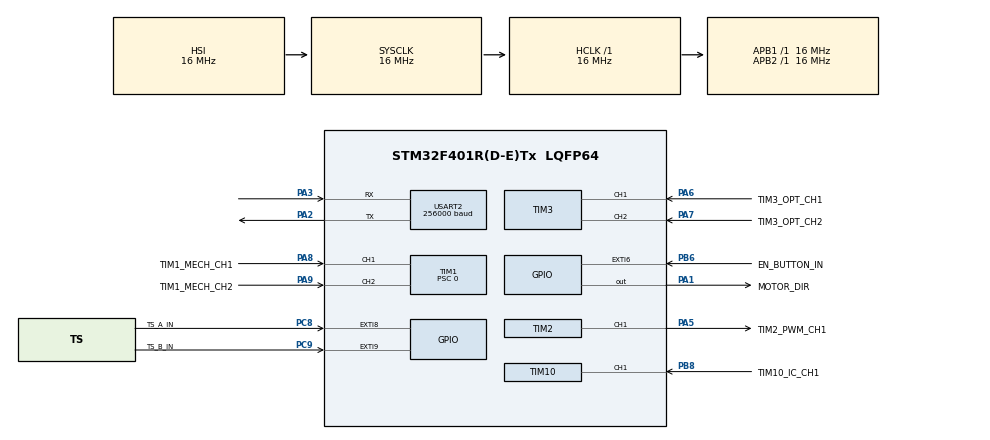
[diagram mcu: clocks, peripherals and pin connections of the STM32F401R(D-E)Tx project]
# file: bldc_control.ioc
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Dma.Request0=USART2_TX
Dma.USART2_TX.0.Direction=DMA_MEMORY_TO_PERIPH
Dma.USART2_TX.0.FIFOMode=DMA_FIFOMODE_DISABLE
Dma.USART2_TX.0.Instance=DMA1_Stream6
Dma.USART2_TX.0.MemDataAlignment=DMA_MDATAALIGN_BYTE
Dma.USART2_TX.0.MemInc=DMA_MINC_ENABLE
Dma.USART2_TX.0.Mode=DMA_NORMAL
Dma.USART2_TX.0.PeriphDataAlignment=DMA_PDATAALIGN_BYTE
Dma.USART2_TX.0.PeriphInc=DMA_PINC_DISABLE
Dma.USART2_TX.0.Priority=DMA_PRIORITY_LOW
Mcu.Family=STM32F4
Mcu.Name=STM32F401R(D-E)Tx
Mcu.Package=LQFP64
NVIC.DMA1_Stream6_IRQn=true\:0\:0\:false\:false\:true\:false\:true\:true
NVIC.EXTI9_5_IRQn=true\:0\:0\:false\:false\:true\:true\:true\:true
NVIC.PriorityGroup=NVIC_PRIORITYGROUP_4
NVIC.TIM1_BRK_TIM9_IRQn=true\:0\:0\:false\:false\:true\:true\:true\:true
NVIC.TIM1_CC_IRQn=true\:0\:0\:false\:false\:true\:true\:true\:true
NVIC.TIM1_TRG_COM_TIM11_IRQn=true\:0\:0\:false\:false\:true\:true\:true\:true
NVIC.TIM1_UP_TIM10_IRQn=true\:0\:0\:false\:false\:true\:true\:true\:true
NVIC.TIM2_IRQn=true\:0\:0\:false\:false\:true\:true\:true\:true
NVIC.TIM3_IRQn=true\:0\:0\:false\:false\:true\:true\:true\:true
NVIC.TIM4_IRQn=true\:0\:0\:false\:false\:true\:true\:true\:true
NVIC.TIM5_IRQn=true\:0\:0\:false\:false\:true\:true\:true\:true
NVIC.USART2_IRQn=true\:0\:0\:false\:false\:true\:true\:true\:true
PA1.GPIO_Label=MOTOR_DIR
PA1.GPIO_PuPd=GPIO_PULLDOWN
PA1.Signal=GPIO_Output
PA13.Mode=Serial_Wire
PA13.Signal=SYS_JTMS-SWDIO
PA14.Mode=Serial_Wire
PA14.Signal=SYS_JTCK-SWCLK
PA2.Mode=Asynchronous
PA2.Signal=USART2_TX
PA3.Mode=Asynchronous
PA3.Signal=USART2_RX
PA5.GPIO_Label=TIM2_PWM_CH1
PA5.Signal=S_TIM2_CH1_ETR
PA6.GPIO_Label=TIM3_OPT_CH1
PA6.Signal=S_TIM3_CH1
PA7.GPIO_Label=TIM3_OPT_CH2
PA7.Signal=S_TIM3_CH2
PA8.GPIO_Label=TIM1_MECH_CH1
PA8.GPIO_PuPd=GPIO_PULLUP
PA8.Signal=S_TIM1_CH1
PA9.GPIO_Label=TIM1_MECH_CH2
PA9.GPIO_PuPd=GPIO_PULLUP
PA9.Signal=S_TIM1_CH2
PB6.GPIO_Label=EN_BUTTON_IN
PB6.GPIO_ModeDefaultEXTI=GPIO_MODE_IT_FALLING
PB6.Signal=GPXTI6
PB8.GPIO_Label=TIM10_IC_CH1
PB8.Signal=S_TIM10_CH1
PC8.GPIO_Label=TS_A_IN
PC8.GPIO_ModeDefaultEXTI=GPIO_MODE_IT_FALLING
PC8.Signal=GPXTI8
PC9.GPIO_Label=TS_B_IN
PC9.GPIO_ModeDefaultEXTI=GPIO_MODE_IT_FALLING
PC9.GPIO_PuPd=GPIO_NOPULL
PC9.Signal=GPXTI9
ProjectManager.HeapSize=0x200
ProjectManager.StackSize=0x400
ProjectManager.TargetToolchain=STM32CubeIDE
RCC.AHBFreq_Value=16000000
RCC.APB1Freq_Value=16000000
RCC.APB1TimFreq_Value=16000000
RCC.APB2Freq_Value=16000000
RCC.APB2TimFreq_Value=16000000
RCC.CortexFreq_Value=16000000
RCC.HCLKFreq_Value=16000000
RCC.HSE_VALUE=25000000
RCC.HSI_VALUE=16000000
RCC.LSE_VALUE=32768
RCC.SYSCLKFreq_VALUE=16000000
RCC.VCOOutputFreq_Value=192000000
SH.S_TIM10_CH1.0=TIM10_CH1,Input_Capture1_from_TI1
SH.S_TIM1_CH1.0=TIM1_CH1,Encoder_Interface
SH.S_TIM1_CH2.0=TIM1_CH2,Encoder_Interface
SH.S_TIM2_CH1_ETR.0=TIM2_CH1,PWM Generation1 CH1
SH.S_TIM3_CH1.0=TIM3_CH1,Encoder_Interface
SH.S_TIM3_CH2.0=TIM3_CH2,Encoder_Interface
TIM1.Period=65535
TIM1.Prescaler=0
TIM10.Channel=TIM_CHANNEL_1
TIM10.Prescaler=159
TIM2.Channel-PWM\ Generation1\ CH1=TIM_CHANNEL_1
TIM2.Period=999
TIM2.Prescaler=15
TIM4.Period=999
TIM4.Prescaler=799
TIM5.Period=999
TIM5.Prescaler=15999
TIM9.Period=49
TIM9.Prescaler=15999
USART2.BaudRate=256000
USART2.VirtualMode=VM_ASYNC
VP_TIM10_VS_ClockSourceINT.Mode=Enable_Timer
VP_TIM4_VS_ClockSourceINT.Mode=Internal
VP_TIM5_VS_ClockSourceINT.Mode=Internal
VP_TIM9_VS_ClockSourceINT.Mode=Internal
board=custom

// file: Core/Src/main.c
/* USER CODE BEGIN Header */
/**
  ******************************************************************************
  * @file           : main.c
  * @brief          : Main program body
  ******************************************************************************
  * @attention
  *
  * Copyright (c) 2023 STMicroelectronics.
  * All rights reserved.
  *
  * This software is licensed under terms that can be found in the LICENSE file
  * in the root directory of this software component.
  * If no LICENSE file comes with this software, it is provided AS-IS.
  *
  ******************************************************************************
  */
/* USER CODE END Header */
#include "main.h"

/* USER CODE BEGIN Includes */
#include <stdio.h>
#include <string.h>
#include <stdlib.h>
#include <math.h>

#include <encoder.h>

#include <state_machine.h>
#include <speed_control.h>
/* USER CODE END Includes */

/* USER CODE BEGIN PD */
#define PWM_F 10000

/// \def BLDC_CONTROL_SET_DIR_FWD
/// \brief Макрос для установки направления движения двигателя вперёд (в направлении ОТ двигателя по рельсе).
/// \warning �?спользовать с осторожностью, т.к. подключение пина, отвечающего за направление вращения двигателя, может измениться
#define BLDC_CONTROL_SET_DIR_FWD() HAL_GPIO_WritePin(GPIOA, GPIO_PIN_1, GPIO_PIN_SET)

/// \def BLDC_CONTROL_SET_DIR_BWD
/// \brief Макрос для установки направления движения двигателя назад (в направлении К двигателю по рельсе).
/// \warning �?спользовать с осторожностью, т.к. подключение пина, отвечающего за направление вращения двигателя, может измениться
#define BLDC_CONTROL_SET_DIR_BWD() HAL_GPIO_WritePin(GPIOA, GPIO_PIN_1, GPIO_PIN_RESET)

/// \def BLDC_CONTROL_INTERNAL_CLK_FREQ
/// \brief Частота тактирования контроллера, Гц
#define BLDC_CONTROL_INTERNAL_CLK_FREQ 16000000

/// \def BLDC_CONTROL_ENCODER_RES
/// \brief Разрешение измерительного энкодера, имп./об.
#define BLDC_CONTROL_ENCODER_RES 64

/// \def BLDC_CONTROL_CART_LEN
/// \brief Длина каретки
#define BLDC_CONTROL_CART_LEN 45

/// \def BLDC_CONTROL_GUIDE_LEN
/// \brief Фактическая длина рабочей зоны в мм
#define BLDC_CONTROL_GUIDE_LEN (250 - BLDC_CONTROL_CART_LEN)

/* USER CODE END PD */

TIM_HandleTypeDef htim1;
TIM_HandleTypeDef htim2;
TIM_HandleTypeDef htim3;
TIM_HandleTypeDef htim4;
TIM_HandleTypeDef htim5;
TIM_HandleTypeDef htim9;
TIM_HandleTypeDef htim10;

UART_HandleTypeDef huart2;
DMA_HandleTypeDef hdma_usart2_tx;

/* USER CODE BEGIN PV */
char usart_buffer[255] = {'\0'};
uint8_t recieve_buffer[255] = {'\0'};
char transmit_buffer[255] = {'\0'};
int16_t control_speed = 0;
int16_t position_ticks = 0;
double ticks_per_mm = 0.;
double speed_rpm = 0.;
double position_mm = 0.;
uint16_t max_position_ticks = 0;

uint16_t desired_position_ticks = 0;
double desired_position_mm = 0;
double p_coeff = 1;
double d_coeff = 1;

double i_coeff = 1;
int16_t error_integral = 0;
int16_t i_control = 0;
double time_counter = 0.0;

control_type control = bldc_control_proportional;
int16_t error_ticks = 0;
double error_mm = 0.;
int16_t prev_error_ticks = 0;
uint16_t encoder_ic = 0;

uint16_t sampling_frequency;
uint8_t direct;
states state;
/* USER CODE END PV */

void SystemClock_Config(void);
static void MX_GPIO_Init(void);
static void MX_DMA_Init(void);
static void MX_TIM2_Init(void);
static void MX_TIM1_Init(void);
static void MX_USART2_UART_Init(void);
static void MX_TIM3_Init(void);
static void MX_TIM4_Init(void);
static void MX_TIM5_Init(void);
static void MX_TIM9_Init(void);
static void MX_TIM10_Init(void);

/* USER CODE BEGIN 0 */

void HAL_TIM_PeriodElapsedCallback(TIM_HandleTypeDef* htim) {
    if (htim->Instance == TIM4) {
        if ((state == bldc_control_before_calibration) || (state == bldc_control_calibrated)) {
            /// Считывание показаний механического энкодера
            control_speed = (int16_t) (10 * __HAL_TIM_GET_COUNTER(&htim1));
            if (control_speed > BLDC_CONTROL_MAX_CONTROL){
                control_speed = BLDC_CONTROL_MAX_CONTROL;
                __HAL_TIM_SET_COUNTER(&htim1, 50);
            }else if (control_speed < - BLDC_CONTROL_MAX_CONTROL){
                control_speed = - BLDC_CONTROL_MAX_CONTROL;
                __HAL_TIM_SET_COUNTER(&htim1, UINT16_MAX - 50);
            }
            /// speed  [-500..500]
            set_speed(control_speed, &htim2);
        } else if (state == bldc_control_positioning){
            position_ticks =  (int16_t)__HAL_TIM_GET_COUNTER(&htim3);
            error_ticks =  (int16_t)(desired_position_ticks - position_ticks);
            error_integral += (int16_t) (error_ticks * time_counter);
            time_counter += 0.1;
            if (control == bldc_control_proportional){
                control_speed = (int16_t) (p_coeff * error_ticks);
            }else if ( control == bldc_control_prop_diff){
                control_speed = (int16_t) (p_coeff * error_ticks
                        + d_coeff * (error_ticks - prev_error_ticks) * 10);
            }else if ( control == bldc_control_prop_int){
                i_control = (int16_t) (i_coeff * error_integral);
                if (i_control < -100){
                    i_control = -100;
                }else if (i_control > 100){
                    i_control = 100;
                }
                control_speed = (int16_t) (p_coeff * error_ticks + i_control);
            }
            if (control_speed > 500) {
                control_speed = 500;
            }else if (control_speed < -500) {
                control_speed = -500;
            }

            error_mm = get_mm_from_ticks(BLDC_CONTROL_GUIDE_LEN, max_position_ticks, error_ticks );
            position_mm = get_mm_from_ticks(BLDC_CONTROL_GUIDE_LEN, max_position_ticks, position_ticks );
            set_speed(control_speed, &htim2);
            prev_error_ticks = error_ticks;

        }

    }

    if (htim->Instance == TIM5) {
        switch (state){
            case bldc_control_before_calibration:
//                snprintf(transmit_buffer, sizeof(transmit_buffer), "before_calibration. PWM: %lu , Optical encoder: %ld\n Speed: %f rpm\n\r",TIM2->CCR1, __HAL_TIM_GET_COUNTER(&htim3),  speed_rpm);
                snprintf(transmit_buffer, sizeof(transmit_buffer), "before_calibration. PWM: %lu ,speed: %d\n\r", TIM2->CCR1, control_speed);

                break;
            case bldc_control_calibrating_zero:
                snprintf(transmit_buffer, sizeof(transmit_buffer), "calibrating_zero. Optical encoder: %hd\n Speed: %f rpm\n\r", (int16_t) __HAL_TIM_GET_COUNTER(&htim3),  speed_rpm);
                break;
            case bldc_control_calibrated_zero:
                snprintf(transmit_buffer, sizeof(transmit_buffer), "calibrated_zero. Optical encoder: %hd\n Speed: %f rpm\n\r",(int16_t)  __HAL_TIM_GET_COUNTER(&htim3),  speed_rpm);
                break;
            case bldc_control_calibrating_end:
                snprintf(transmit_buffer, sizeof(transmit_buffer), "calibrating_end. Optical encoder: %hd\n Speed: %f rpm\n\r",(int16_t)  __HAL_TIM_GET_COUNTER(&htim3),  speed_rpm);
                break;
            case bldc_control_calibrated_end:
                snprintf(transmit_buffer, sizeof(transmit_buffer), "calibrated_end. Optical encoder: %hd\n Speed: %f rpm\n\r",(int16_t)  __HAL_TIM_GET_COUNTER(&htim3), speed_rpm);
                break;
            case bldc_control_calibrated:
                snprintf(transmit_buffer, sizeof(transmit_buffer), "Calibrated!!!. Optical encoder: %hd\n Speed: %f rpm\n\r",(int16_t)  __HAL_TIM_GET_COUNTER(&htim3), speed_rpm);
                break;
            case bldc_control_ready_4_positioning:
                position_mm =(double) __HAL_TIM_GET_COUNTER(&htim3) * (double) BLDC_CONTROL_GUIDE_LEN / (double)max_position_ticks;
                snprintf(transmit_buffer, sizeof(transmit_buffer), "Ready for positioning. Position, mm: %f\n Speed: %f rpm\n\r", position_mm, speed_rpm);
                break;
            default:
                snprintf(transmit_buffer, sizeof(transmit_buffer), "Coordinates: %0.2f, Optical encoder: %ld\n Control speed: %d rpm\n\r",get_mm_from_ticks(BLDC_CONTROL_GUIDE_LEN, max_position_ticks, __HAL_TIM_GET_COUNTER(&htim3)),
                         __HAL_TIM_GET_COUNTER(&htim3), control_speed);
                break;
        }

        HAL_UART_Transmit_DMA(&huart2, (uint8_t *) transmit_buffer, strlen(transmit_buffer));

    }
}

/// \brief Callback для внешних прерываний с концевых датчиков
/// \note Прерывания на ножках PC9, PC8 генерируются по спадающему фронту
void HAL_GPIO_EXTI_Callback(uint16_t GPIO_Pin){
    /// Сработал концевой датчик B (дальше от движка)
    if (GPIO_Pin == TS_B_IN_Pin) {
        /// "Сброс" счётчика механического энкодера
        __HAL_TIM_SET_COUNTER(&htim1, 0);
        /// Тормоз двигателя
        set_speed(0, &htim2);

        if (state == bldc_control_calibrating_end){
            max_position_ticks = __HAL_TIM_GET_COUNTER(&htim3);
            ticks_per_mm =  round((double)max_position_ticks / (double) BLDC_CONTROL_GUIDE_LEN);
            state = bldc_control_calibrated_end;
        }else if (state == bldc_control_positioning){
            state = bldc_control_calibrated;
        }
//        else {
//            state = bldc_control_collision_error;
//        }
    /// Сработал концевой датчик A (Ближе к движку)
    } else if (GPIO_Pin == TS_A_IN_Pin) {
        /// "Сброс" счётчика механического энкодера
        __HAL_TIM_SET_COUNTER(&htim1, 0);
        /// Тормоз двигателя
        set_speed(0, &htim2);
        if(state == bldc_control_calibrating_zero){
            state = bldc_control_calibrated_zero;
        }else if (state == bldc_control_positioning){
            state = bldc_control_calibrated;
        }
//        else {
//            state = bldc_control_collision_error;
//        }
    } else if (GPIO_Pin == EN_BUTTON_IN_Pin){
        if(state == bldc_control_before_calibration){
            state = bldc_control_calibrating_zero;
        }else if (state == bldc_control_calibrated){
            state = bldc_control_ready_4_positioning;
        }
    }

}

/// \brief Callback прерывания по захвату переднего фронта сигнала
void HAL_TIM_IC_CaptureCallback(TIM_HandleTypeDef *htim) {
    /// Ножка, подключенная к одному из каналов энкодера
    if(htim->Instance == TIM10){
        encoder_ic = __HAL_TIM_GET_COMPARE(&htim10, TIM_CHANNEL_1);    //read TIM10 channel 1 capture value
        __HAL_TIM_SET_COUNTER(&htim10, 0);    //reset counter after input capture interrupt occurs
        speed_rpm = get_speed_rpm_period(encoder_ic, BLDC_CONTROL_ENCODER_RES, 100000);
    }
}

/* USER CODE END 0 */

int main(void)
{

  /* MCU Configuration--------------------------------------------------------*/

  /* Reset of all peripherals, Initializes the Flash interface and the Systick. */
  HAL_Init();

  /* Configure the system clock */
  SystemClock_Config();

  /* Initialize all configured peripherals */
  MX_GPIO_Init();
  MX_DMA_Init();
  MX_TIM2_Init();
  MX_TIM1_Init();
  MX_USART2_UART_Init();
  MX_TIM3_Init();
  MX_TIM4_Init();
  MX_TIM5_Init();
  MX_TIM9_Init();
  MX_TIM10_Init();

  /* Infinite loop */
  /* USER CODE BEGIN WHILE */
  HAL_TIM_Encoder_Start_IT(&htim1, TIM_CHANNEL_1);
  HAL_TIM_PWM_Start_IT(&htim2, TIM_CHANNEL_1);
  __HAL_TIM_ENABLE_IT(&htim2, TIM_IT_UPDATE);
  HAL_TIM_Encoder_Start_IT(&htim3, TIM_CHANNEL_1);
  HAL_TIM_Base_Start_IT(&htim4);
  HAL_TIM_Base_Start_IT(&htim5);
  HAL_TIM_Base_Start_IT(&htim9);
  HAL_TIM_IC_Start_IT(&htim10, TIM_CHANNEL_1);

  set_speed(0, &htim2);
  sampling_frequency = BLDC_CONTROL_INTERNAL_CLK_FREQ / (TIM9->PSC + 1) / (TIM9->ARR + 1);
//  HAL_UART_Receive_DMA(&huart2, (uint8_t *) recieve_buffer, 3);
  /// < Устанавливаем начальное состояние системы
  state = bldc_control_before_calibration;

  while (1){

      switch (state) {
          case bldc_control_calibrating_zero :
              __HAL_TIM_SET_COMPARE(&htim2, TIM_CHANNEL_1, 600); /// ~ минимальная скорость
              BLDC_CONTROL_SET_DIR_BWD();
//              set_speed(- BLDC_CONTROL_MAX_CONTROL / 5, &htim2);
              break;
          case bldc_control_calibrated_zero:
              /// Ожидание окончание вращения энкодера по инерции после столкновения с датчиком
              set_speed(0, &htim2);
              HAL_Delay(1500);
              /// Обнуление счётчика оптического энкодера
              __HAL_TIM_SET_COUNTER(&htim3, 0);
              state = bldc_control_calibrating_end;
              break;
          case bldc_control_calibrating_end:
              if ( (__HAL_TIM_GET_COUNTER(&htim3) < 1400) && (__HAL_TIM_GET_COUNTER(&htim3) >= 0) ){
                  set_speed(BLDC_CONTROL_MAX_CONTROL, &htim2);
              } else{
                  set_speed(BLDC_CONTROL_MAX_CONTROL / 5, &htim2);
              }
              break;
          case bldc_control_calibrated_end:
              if ( (__HAL_TIM_GET_COUNTER(&htim3) >= 1200) || (__HAL_TIM_GET_COUNTER(&htim3) <= 800)){
                  set_speed(- BLDC_CONTROL_MAX_CONTROL / 2, &htim2);
              }else { /// Отъехали от края на безопасное расстояние, можно останавливаться и готовиться к работе
                  set_speed(0, &htim2);
                  state = bldc_control_calibrated;
              }
              break;
          case bldc_control_ready_4_positioning:
              set_speed(0, &htim2);
              desired_position_ticks = get_ticks_from_mm(BLDC_CONTROL_GUIDE_LEN, max_position_ticks, desired_position_mm);
              snprintf(transmit_buffer, sizeof(transmit_buffer), "Desired position: %0.1f mm, %d ticks\n\r",desired_position_mm, desired_position_ticks);
//              HAL_Delay(1000);
              HAL_UART_Transmit_DMA(&huart2, (uint8_t *) transmit_buffer, strlen(transmit_buffer));
              error_mm = get_mm_from_ticks(BLDC_CONTROL_GUIDE_LEN, max_position_ticks, error_ticks );
              position_mm = get_mm_from_ticks(BLDC_CONTROL_GUIDE_LEN, max_position_ticks, position_ticks );

              error_integral = 0;
              error_ticks = 0;
              time_counter = 0.;
              state = bldc_control_positioning;
              break;
//          case bldc_control_positioning:
//
//              break;
          default:
              break;

      }
    /* USER CODE END WHILE */

  }
}

void SystemClock_Config(void)
{
  RCC_OscInitTypeDef RCC_OscInitStruct = {0};
  RCC_ClkInitTypeDef RCC_ClkInitStruct = {0};

  /** Configure the main internal regulator output voltage
  */
  __HAL_RCC_PWR_CLK_ENABLE();
  __HAL_PWR_VOLTAGESCALING_CONFIG(PWR_REGULATOR_VOLTAGE_SCALE2);

  /** Initializes the RCC Oscillators according to the specified parameters
  * in the RCC_OscInitTypeDef structure.
  */
  RCC_OscInitStruct.OscillatorType = RCC_OSCILLATORTYPE_HSI;
  RCC_OscInitStruct.HSIState = RCC_HSI_ON;
  RCC_OscInitStruct.HSICalibrationValue = RCC_HSICALIBRATION_DEFAULT;
  RCC_OscInitStruct.PLL.PLLState = RCC_PLL_NONE;
  if (HAL_RCC_OscConfig(&RCC_OscInitStruct) != HAL_OK)
  {
    Error_Handler();
  }

  /** Initializes the CPU, AHB and APB buses clocks
  */
  RCC_ClkInitStruct.ClockType = RCC_CLOCKTYPE_HCLK|RCC_CLOCKTYPE_SYSCLK
                              |RCC_CLOCKTYPE_PCLK1|RCC_CLOCKTYPE_PCLK2;
  RCC_ClkInitStruct.SYSCLKSource = RCC_SYSCLKSOURCE_HSI;
  RCC_ClkInitStruct.AHBCLKDivider = RCC_SYSCLK_DIV1;
  RCC_ClkInitStruct.APB1CLKDivider = RCC_HCLK_DIV1;
  RCC_ClkInitStruct.APB2CLKDivider = RCC_HCLK_DIV1;

  if (HAL_RCC_ClockConfig(&RCC_ClkInitStruct, FLASH_LATENCY_0) != HAL_OK)
  {
    Error_Handler();
  }
}

static void MX_TIM1_Init(void)
{

  TIM_Encoder_InitTypeDef sConfig = {0};
  TIM_MasterConfigTypeDef sMasterConfig = {0};

  htim1.Instance = TIM1;
  htim1.Init.Prescaler = 0;
  htim1.Init.CounterMode = TIM_COUNTERMODE_UP;
  htim1.Init.Period = 65535;
  htim1.Init.ClockDivision = TIM_CLOCKDIVISION_DIV1;
  htim1.Init.RepetitionCounter = 0;
  htim1.Init.AutoReloadPreload = TIM_AUTORELOAD_PRELOAD_DISABLE;
  sConfig.EncoderMode = TIM_ENCODERMODE_TI1;
  sConfig.IC1Polarity = TIM_ICPOLARITY_RISING;
  sConfig.IC1Selection = TIM_ICSELECTION_DIRECTTI;
  sConfig.IC1Prescaler = TIM_ICPSC_DIV1;
  sConfig.IC1Filter = 0;
  sConfig.IC2Polarity = TIM_ICPOLARITY_RISING;
  sConfig.IC2Selection = TIM_ICSELECTION_DIRECTTI;
  sConfig.IC2Prescaler = TIM_ICPSC_DIV1;
  sConfig.IC2Filter = 0;
  if (HAL_TIM_Encoder_Init(&htim1, &sConfig) != HAL_OK)
  {
    Error_Handler();
  }
  sMasterConfig.MasterOutputTrigger = TIM_TRGO_RESET;
  sMasterConfig.MasterSlaveMode = TIM_MASTERSLAVEMODE_DISABLE;
  if (HAL_TIMEx_MasterConfigSynchronization(&htim1, &sMasterConfig) != HAL_OK)
  {
    Error_Handler();
  }

}

static void MX_TIM2_Init(void)
{

  TIM_MasterConfigTypeDef sMasterConfig = {0};
  TIM_OC_InitTypeDef sConfigOC = {0};

  htim2.Instance = TIM2;
  htim2.Init.Prescaler = 15;
  htim2.Init.CounterMode = TIM_COUNTERMODE_UP;
  htim2.Init.Period = 999;
  htim2.Init.ClockDivision = TIM_CLOCKDIVISION_DIV1;
  htim2.Init.AutoReloadPreload = TIM_AUTORELOAD_PRELOAD_DISABLE;
  if (HAL_TIM_PWM_Init(&htim2) != HAL_OK)
  {
    Error_Handler();
  }
  sMasterConfig.MasterOutputTrigger = TIM_TRGO_RESET;
  sMasterConfig.MasterSlaveMode = TIM_MASTERSLAVEMODE_DISABLE;
  if (HAL_TIMEx_MasterConfigSynchronization(&htim2, &sMasterConfig) != HAL_OK)
  {
    Error_Handler();
  }
  sConfigOC.OCMode = TIM_OCMODE_PWM1;
  sConfigOC.Pulse = 0;
  sConfigOC.OCPolarity = TIM_OCPOLARITY_HIGH;
  sConfigOC.OCFastMode = TIM_OCFAST_DISABLE;
  if (HAL_TIM_PWM_ConfigChannel(&htim2, &sConfigOC, TIM_CHANNEL_1) != HAL_OK)
  {
    Error_Handler();
  }
  HAL_TIM_MspPostInit(&htim2);

}

static void MX_TIM3_Init(void)
{

  TIM_Encoder_InitTypeDef sConfig = {0};
  TIM_MasterConfigTypeDef sMasterConfig = {0};

  htim3.Instance = TIM3;
  htim3.Init.Prescaler = 0;
  htim3.Init.CounterMode = TIM_COUNTERMODE_UP;
  htim3.Init.Period = 65535;
  htim3.Init.ClockDivision = TIM_CLOCKDIVISION_DIV1;
  htim3.Init.AutoReloadPreload = TIM_AUTORELOAD_PRELOAD_DISABLE;
  sConfig.EncoderMode = TIM_ENCODERMODE_TI1;
  sConfig.IC1Polarity = TIM_ICPOLARITY_RISING;
  sConfig.IC1Selection = TIM_ICSELECTION_DIRECTTI;
  sConfig.IC1Prescaler = TIM_ICPSC_DIV1;
  sConfig.IC1Filter = 0;
  sConfig.IC2Polarity = TIM_ICPOLARITY_RISING;
  sConfig.IC2Selection = TIM_ICSELECTION_DIRECTTI;
  sConfig.IC2Prescaler = TIM_ICPSC_DIV1;
  sConfig.IC2Filter = 0;
  if (HAL_TIM_Encoder_Init(&htim3, &sConfig) != HAL_OK)
  {
    Error_Handler();
  }
  sMasterConfig.MasterOutputTrigger = TIM_TRGO_RESET;
  sMasterConfig.MasterSlaveMode = TIM_MASTERSLAVEMODE_DISABLE;
  if (HAL_TIMEx_MasterConfigSynchronization(&htim3, &sMasterConfig) != HAL_OK)
  {
    Error_Handler();
  }

}

static void MX_TIM4_Init(void)
{

  TIM_ClockConfigTypeDef sClockSourceConfig = {0};
  TIM_MasterConfigTypeDef sMasterConfig = {0};

  htim4.Instance = TIM4;
  htim4.Init.Prescaler = 399;
  htim4.Init.CounterMode = TIM_COUNTERMODE_UP;
  htim4.Init.Period = 999;
  htim4.Init.ClockDivision = TIM_CLOCKDIVISION_DIV1;
  htim4.Init.AutoReloadPreload = TIM_AUTORELOAD_PRELOAD_DISABLE;
  if (HAL_TIM_Base_Init(&htim4) != HAL_OK)
  {
    Error_Handler();
  }
  sClockSourceConfig.ClockSource = TIM_CLOCKSOURCE_INTERNAL;
  if (HAL_TIM_ConfigClockSource(&htim4, &sClockSourceConfig) != HAL_OK)
  {
    Error_Handler();
  }
  sMasterConfig.MasterOutputTrigger = TIM_TRGO_RESET;
  sMasterConfig.MasterSlaveMode = TIM_MASTERSLAVEMODE_DISABLE;
  if (HAL_TIMEx_MasterConfigSynchronization(&htim4, &sMasterConfig) != HAL_OK)
  {
    Error_Handler();
  }

}

static void MX_TIM5_Init(void)
{

  TIM_ClockConfigTypeDef sClockSourceConfig = {0};
  TIM_MasterConfigTypeDef sMasterConfig = {0};

  htim5.Instance = TIM5;
  htim5.Init.Prescaler = 15999;
  htim5.Init.CounterMode = TIM_COUNTERMODE_UP;
  htim5.Init.Period = 999;
  htim5.Init.ClockDivision = TIM_CLOCKDIVISION_DIV1;
  htim5.Init.AutoReloadPreload = TIM_AUTORELOAD_PRELOAD_DISABLE;
  if (HAL_TIM_Base_Init(&htim5) != HAL_OK)
  {
    Error_Handler();
  }
  sClockSourceConfig.ClockSource = TIM_CLOCKSOURCE_INTERNAL;
  if (HAL_TIM_ConfigClockSource(&htim5, &sClockSourceConfig) != HAL_OK)
  {
    Error_Handler();
  }
  sMasterConfig.MasterOutputTrigger = TIM_TRGO_RESET;
  sMasterConfig.MasterSlaveMode = TIM_MASTERSLAVEMODE_DISABLE;
  if (HAL_TIMEx_MasterConfigSynchronization(&htim5, &sMasterConfig) != HAL_OK)
  {
    Error_Handler();
  }

}

static void MX_TIM9_Init(void)
{

  TIM_ClockConfigTypeDef sClockSourceConfig = {0};

  htim9.Instance = TIM9;
  htim9.Init.Prescaler = 15999;
  htim9.Init.CounterMode = TIM_COUNTERMODE_UP;
  htim9.Init.Period = 49;
  htim9.Init.ClockDivision = TIM_CLOCKDIVISION_DIV1;
  htim9.Init.AutoReloadPreload = TIM_AUTORELOAD_PRELOAD_DISABLE;
  if (HAL_TIM_Base_Init(&htim9) != HAL_OK)
  {
    Error_Handler();
  }
  sClockSourceConfig.ClockSource = TIM_CLOCKSOURCE_INTERNAL;
  if (HAL_TIM_ConfigClockSource(&htim9, &sClockSourceConfig) != HAL_OK)
  {
    Error_Handler();
  }

}

static void MX_TIM10_Init(void)
{

  TIM_IC_InitTypeDef sConfigIC = {0};

  htim10.Instance = TIM10;
  htim10.Init.Prescaler = 159;
  htim10.Init.CounterMode = TIM_COUNTERMODE_UP;
  htim10.Init.Period = 65535;
  htim10.Init.ClockDivision = TIM_CLOCKDIVISION_DIV1;
  htim10.Init.AutoReloadPreload = TIM_AUTORELOAD_PRELOAD_DISABLE;
  if (HAL_TIM_Base_Init(&htim10) != HAL_OK)
  {
    Error_Handler();
  }
  if (HAL_TIM_IC_Init(&htim10) != HAL_OK)
  {
    Error_Handler();
  }
  sConfigIC.ICPolarity = TIM_INPUTCHANNELPOLARITY_RISING;
  sConfigIC.ICSelection = TIM_ICSELECTION_DIRECTTI;
  sConfigIC.ICPrescaler = TIM_ICPSC_DIV1;
  sConfigIC.ICFilter = 0;
  if (HAL_TIM_IC_ConfigChannel(&htim10, &sConfigIC, TIM_CHANNEL_1) != HAL_OK)
  {
    Error_Handler();
  }

}

static void MX_USART2_UART_Init(void)
{

  huart2.Instance = USART2;
  huart2.Init.BaudRate = 256000;
  huart2.Init.WordLength = UART_WORDLENGTH_8B;
  huart2.Init.StopBits = UART_STOPBITS_1;
  huart2.Init.Parity = UART_PARITY_NONE;
  huart2.Init.Mode = UART_MODE_TX_RX;
  huart2.Init.HwFlowCtl = UART_HWCONTROL_NONE;
  huart2.Init.OverSampling = UART_OVERSAMPLING_16;
  if (HAL_UART_Init(&huart2) != HAL_OK)
  {
    Error_Handler();
  }

}

static void MX_DMA_Init(void)
{

  /* DMA controller clock enable */
  __HAL_RCC_DMA1_CLK_ENABLE();

  /* DMA interrupt init */
  /* DMA1_Stream6_IRQn interrupt configuration */
  HAL_NVIC_SetPriority(DMA1_Stream6_IRQn, 0, 0);
  HAL_NVIC_EnableIRQ(DMA1_Stream6_IRQn);

}

static void MX_GPIO_Init(void)
{
  GPIO_InitTypeDef GPIO_InitStruct = {0};

  /* GPIO Ports Clock Enable */
  __HAL_RCC_GPIOA_CLK_ENABLE();
  __HAL_RCC_GPIOC_CLK_ENABLE();
  __HAL_RCC_GPIOB_CLK_ENABLE();

  /*Configure GPIO pin Output Level */
  HAL_GPIO_WritePin(MOTOR_DIR_GPIO_Port, MOTOR_DIR_Pin, GPIO_PIN_RESET);

  /*Configure GPIO pin : MOTOR_DIR_Pin */
  GPIO_InitStruct.Pin = MOTOR_DIR_Pin;
  GPIO_InitStruct.Mode = GPIO_MODE_OUTPUT_PP;
  GPIO_InitStruct.Pull = GPIO_PULLDOWN;
  GPIO_InitStruct.Speed = GPIO_SPEED_FREQ_LOW;
  HAL_GPIO_Init(MOTOR_DIR_GPIO_Port, &GPIO_InitStruct);

  /*Configure GPIO pins : TS_A_IN_Pin TS_B_IN_Pin */
  GPIO_InitStruct.Pin = TS_A_IN_Pin|TS_B_IN_Pin;
  GPIO_InitStruct.Mode = GPIO_MODE_IT_FALLING;
  GPIO_InitStruct.Pull = GPIO_NOPULL;
  HAL_GPIO_Init(GPIOC, &GPIO_InitStruct);

  /*Configure GPIO pin : EN_BUTTON_IN_Pin */
  GPIO_InitStruct.Pin = EN_BUTTON_IN_Pin;
  GPIO_InitStruct.Mode = GPIO_MODE_IT_FALLING;
  GPIO_InitStruct.Pull = GPIO_NOPULL;
  HAL_GPIO_Init(EN_BUTTON_IN_GPIO_Port, &GPIO_InitStruct);

  /* EXTI interrupt init*/
  HAL_NVIC_SetPriority(EXTI9_5_IRQn, 0, 0);
  HAL_NVIC_EnableIRQ(EXTI9_5_IRQn);

}

void Error_Handler(void)
{
  __disable_irq();
  while (1)
  {
  }
}
